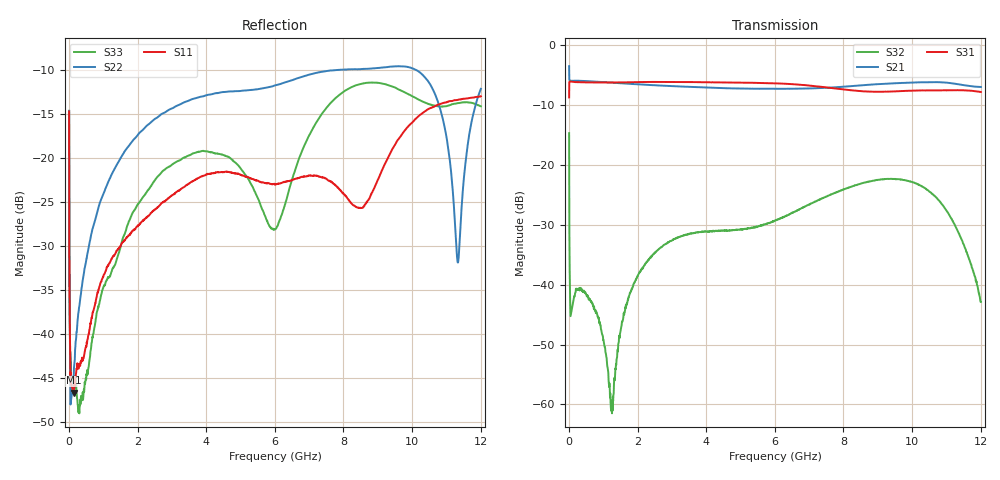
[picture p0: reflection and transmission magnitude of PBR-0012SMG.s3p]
! MARKI MICROWAVE INC.
! Email:  info@markimicrowave.com  Phone:  408-778-4200
! Model Number:  PBR0012SMG  Date:  07/19
! Filename:		PBR-0012SMG.s3p  Version: 1.0
! Description:  3-port S-parameter data for Power Divider PBRX04479
! Frequency Range: 	300 KHz to 12 GHz
! Port Configuration:	PORT 1: COMMON, PORT 2 and Port 3: Output
! S3P File: Measurements: Mag<S11> Ang<S11> Mag<S12> Ang<S12> Mag<S13> Ang<S13>! row 1
!  Mag<S21> Ang<S21> Mag<S22> Ang<S22> Mag<S23> Ang<S23>! row 2
!  Mag<S31> Ang<S31> Mag<S32> Ang<S32> Mag<S33> Ang<S33>! row 3
# Hz S  dB  R 50
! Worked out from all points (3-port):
!   1605 points, 300 kHz to 12.01 GHz, reference 50 ohm
!   strongest paths, dB at 300 kHz, 2.046 GHz, 5.366 GHz, 8.687 GHz, 12.01 GHz:
!     S31: -8.8, -6.2, -6.3, -7.8, -7.9
!     S21: -3.6, -6.6, -7.3, -6.7, -7.0
!     S32: -14.7, -38.0, -30.5, -22.9, -42.9
!   lowest |S11| = -46.7 dB at 132.8 MHz (marker M1), VSWR 1.01, Z = 49.5 - j0.0729 ohm
!   |S11| at or under -10 dB: start of sweep to end of sweep
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300000  -14.67 145.3  -3.56 -8.7  -8.77 17.8
        -3.55 -8.7  -14.63 145.1  -14.72 -37.5
        -8.76 17.8  -14.72 -37.5  -14.60 144.5
4.042925e7  -44.37 125.8  -5.99 -4.2  -6.12 -2.6
            -5.99 -4.2  -47.04 123.1  -45.04 -40.5
            -6.12 -2.6  -45.11 -41.2  -44.72 134.3
1.327985e8  -46.66 -170.9  -5.98 -12.0  -6.20 -10.2
            -5.98 -12.0  -45.18 -128.4  -42.02 -3.5
            -6.19 -10.2  -42.45 -3.8  -45.97 -163.1
1.242473e9  -31.45 165.0  -6.30 -110.3  -6.28 -91.8
            -6.30 -110.3  -21.83 170.2  -60.15 -54.3
            -6.27 -91.8  -60.75 -58.7  -32.88 -164.6
3.627446e9  -22.57 1.0  -7.04 43.8  -6.22 90.8
            -7.04 43.8  -13.24 -74.5  -31.39 106.9
            -6.21 90.8  -31.44 106.9  -19.43 -10.9
6.004138e9  -22.91 -116.0  -7.33 -160.2  -6.42 -87.2
            -7.33 -160.3  -11.71 23.2  -29.31 169.5
            -6.42 -87.3  -29.36 169.4  -28.06 91.7
8.405674e9  -25.61 168.4  -6.81 -8.6  -7.68 95.0
            -6.80 -8.6  -9.88 165.4  -23.33 -123.4
            -7.68 95.0  -23.33 -123.5  -11.66 -162.3
1.020268e10  -15.17 96.0  -6.26 -171.3  -7.62 -33.2
             -6.24 -171.3  -10.16 34.6  -23.38 4.2
             -7.60 -33.4  -23.33 4.2  -13.34 68.6
1.13372e10  -13.36 -8.6  -6.56 83.7  -7.57 -117.7
            -6.56 83.6  -31.87 1.0  -31.07 160.3
            -7.57 -117.8  -31.09 160.2  -13.73 -10.0
1.200798e10  -12.96 -73.0  -7.03 25.7  -7.88 -169.2
             -7.02 25.7  -12.10 13.6  -42.78 2.6
             -7.87 -169.3  -42.89 3.9  -14.09 -74.8
